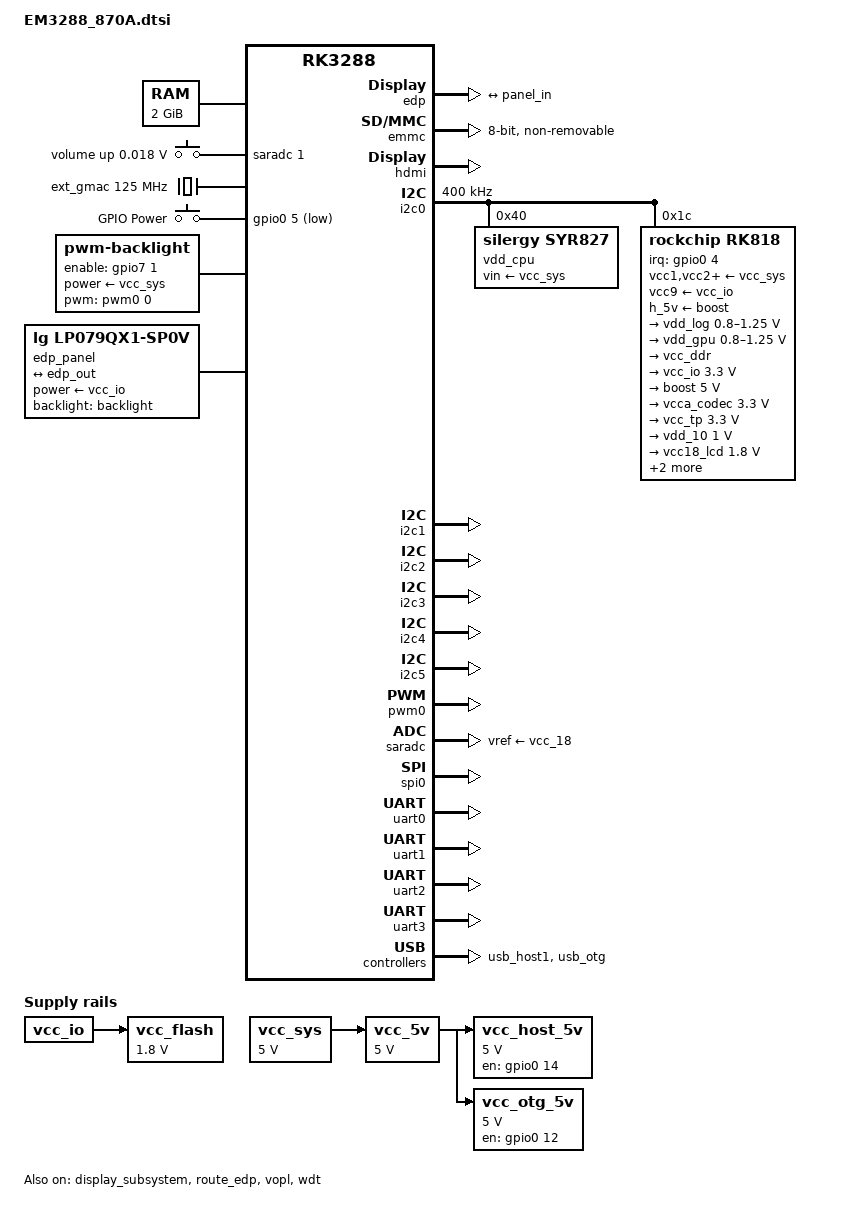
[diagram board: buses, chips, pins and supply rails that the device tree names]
/*
 * (C) Copyright 2018 Yeacreate Co., Ltd
 *
 * SPDX-License-Identifier:     GPL-2.0+ X11
 */

#include "rk3288.dtsi"
#include "rk3288-u-boot.dtsi"
#include <dt-bindings/input/input.h>

/ {
	memory {
		reg = <0 0x80000000>;
	};

	adc-keys {
		compatible = "adc-keys";
		io-channels = <&saradc 1>;
		status = "okay";
		keyup-threshold-microvolt = <1800000>;

		volup-key {
			linux,code = <KEY_VOLUMEUP>;
			label = "volume up";
			press-threshold-microvolt = <18000>;
		};
		
	};

	ext_gmac: external-gmac-clock {
		compatible = "fixed-clock";
		#clock-cells = <0>;
		clock-frequency = <125000000>;
		clock-output-names = "ext_gmac";
	};

	keys: gpio-keys {
		compatible = "gpio-keys";
		#address-cells = <1>;
		#size-cells = <0>;

		button@0 {
			gpio-key,wakeup = <1>;
			gpios = <&gpio0 5 GPIO_ACTIVE_LOW>;
			label = "GPIO Power";
			linux,code = <116>;
			pinctrl-names = "default";
			pinctrl-0 = <&pwr_key>;
		};
	};

	vcc_sys: vsys-regulator {
		compatible = "regulator-fixed";
		regulator-name = "vcc_sys";
		regulator-min-microvolt = <5000000>;
		regulator-max-microvolt = <5000000>;
		regulator-always-on;
		regulator-boot-on;
	};

	vcc_flash: flash-regulator {
		compatible = "regulator-fixed";
		regulator-name = "vcc_flash";
		regulator-min-microvolt = <1800000>;
		regulator-max-microvolt = <1800000>;
		vin-supply = <&vcc_io>;
	};

	vcc_5v: usb-regulator {
		compatible = "regulator-fixed";
		regulator-name = "vcc_5v";
		regulator-min-microvolt = <5000000>;
		regulator-max-microvolt = <5000000>;
		regulator-always-on;
		regulator-boot-on;
		vin-supply = <&vcc_sys>;
	};

	vcc_host_5v: usb-host-regulator {
		compatible = "regulator-fixed";
		enable-active-high;
		gpio = <&gpio0 14 GPIO_ACTIVE_HIGH>;
		pinctrl-names = "default";
		pinctrl-0 = <&host_vbus_drv>;
		regulator-name = "vcc_host_5v";
		regulator-min-microvolt = <5000000>;
		regulator-max-microvolt = <5000000>;
		regulator-always-on;
		vin-supply = <&vcc_5v>;
	};

	vcc_otg_5v: usb-otg-regulator {
		compatible = "regulator-fixed";
		enable-active-high;
		gpio = <&gpio0 12 GPIO_ACTIVE_HIGH>;
		pinctrl-names = "default";
		pinctrl-0 = <&otg_vbus_drv>;
		regulator-name = "vcc_otg_5v";
		regulator-min-microvolt = <5000000>;
		regulator-max-microvolt = <5000000>;
		regulator-always-on;
		vin-supply = <&vcc_5v>;
	};

	backlight: backlight {
		compatible = "pwm-backlight";
		power-supply = <&vcc_sys>;
		enable-gpios = <&gpio7 1 GPIO_ACTIVE_HIGH>;
		brightness-levels = <
			  0   1   2   3   4   5   6   7
			  8   9  10  11  12  13  14  15
			 16  17  18  19  20  21  22  23
			 24  25  26  27  28  29  30  31
			 32  33  34  35  36  37  38  39
			 40  41  42  43  44  45  46  47
			 48  49  50  51  52  53  54  55
			 56  57  58  59  60  61  62  63
			 64  65  66  67  68  69  70  71
			 72  73  74  75  76  77  78  79
			 80  81  82  83  84  85  86  87
			 88  89  90  91  92  93  94  95
			 96  97  98  99 100 101 102 103
			104 105 106 107 108 109 110 111
			112 113 114 115 116 117 118 119
			120 121 122 123 124 125 126 127
			128 129 130 131 132 133 134 135
			136 137 138 139 140 141 142 143
			144 145 146 147 148 149 150 151
			152 153 154 155 156 157 158 159
			160 161 162 163 164 165 166 167
			168 169 170 171 172 173 174 175
			176 177 178 179 180 181 182 183
			184 185 186 187 188 189 190 191
			192 193 194 195 196 197 198 199
			200 201 202 203 204 205 206 207
			208 209 210 211 212 213 214 215
			216 217 218 219 220 221 222 223
			224 225 226 227 228 229 230 231
			232 233 234 235 236 237 238 239
			240 241 242 243 244 245 246 247
			248 249 250 251 252 253 254 255>;
		default-brightness-level = <128>;
		pwms = <&pwm0 0 1000000 0>;
		pinctrl-names = "default";
		pinctrl-0 = <&bl_en>;
		//pwm-delay-us = <10000>;
		status = "okay";
	};

	edp_panel: edp-panel {
		compatible ="lg,lp079qx1-sp0v", "simple-panel";
		backlight = <&backlight>;
		power-supply = <&vcc_io>;
		prepare-delay-ms = <20>;
		enable-delay-ms = <20>;

		ports {
			panel_in: endpoint {
				remote-endpoint = <&edp_out>;
			};
		};
	};

};

&cpu0 {
	cpu0-supply = <&vdd_cpu>;
};

&display_subsystem {
	status = "okay";
};

&edp {
	status = "okay";

	ports {
		port@1 {
			reg = <1>;
			edp_out: endpoint {
				remote-endpoint = <&panel_in>;
			};
		};
	};
};

&emmc {
	broken-cd;
	bus-width = <8>;
	cap-mmc-highspeed;
	disable-wp;
	non-removable;
	num-slots = <1>;
	pinctrl-names = "default";
	pinctrl-0 = <&emmc_clk>, <&emmc_cmd>, <&emmc_pwr>, <&emmc_bus8>;
	//vqmmc-supply = <&vcc_flash>;
	max-frequency = <100000000>;
	mmc-hs200-1_8v;
	mmc-ddr-1_8v;
	status = "okay";
};

&gmac {
	phy-mode = "rgmii";
	clock_in_out = "input";
	snps,reset-gpio = <&gpio4 7 0>;
	snps,reset-active-low;
	snps,reset-delays-us = <0 10000 1000000>;
	assigned-clocks = <&cru SCLK_MAC>;
	assigned-clock-parents = <&ext_gmac>;
	pinctrl-names = "default";
	pinctrl-0 = <&rgmii_pins>;
	tx_delay = <0x30>;
	rx_delay = <0x10>;
	max-speed = <100>;
	status = "disabled";
};

&hdmi {
	ddc-i2c-bus = <&i2c5>;
	status = "okay";
};

&i2c0 {
	clock-frequency = <400000>;
	u-boot,dm-pre-reloc;
	status = "okay";
	
	
	vdd_cpu: syr827@40 {
		compatible = "silergy,syr827";
		fcs,suspend-voltage-selector = <1>;
		reg = <0x40>;
		regulator-name = "vdd_cpu";
		regulator-min-microvolt = <850000>;
		regulator-max-microvolt = <1350000>;
		regulator-always-on;
		regulator-boot-on;
		vin-supply = <&vcc_sys>;
	};
	

	rk818: pmic@1c {
		status = "okay";
		compatible = "rockchip,rk818";
		reg = <0x1c>;
		interrupt-parent = <&gpio0>;
		interrupts = <4 IRQ_TYPE_LEVEL_LOW>;
		pinctrl-names = "default";
		pinctrl-0 = <&pmic_int>;
		rockchip,system-power-controller;
		wakeup-source;
		#clock-cells = <1>;
		u-boot,dm-pre-reloc;

		vcc1-supply = <&vcc_sys>;
		vcc2-supply = <&vcc_sys>;
		vcc3-supply = <&vcc_sys>;
		vcc4-supply = <&vcc_sys>;
		vcc6-supply = <&vcc_sys>;
		vcc7-supply = <&vcc_sys>;
		vcc8-supply = <&vcc_sys>;
		vcc9-supply = <&vcc_io>;
		boost-supply = <&vcc_sys>;
		h_5v-supply = <&boost>;

		regulators {
			u-boot,dm-pre-reloc;
			vdd_log: DCDC_REG1 {
				regulator-name = "vdd_log";
				regulator-always-on;
				regulator-boot-on;
				regulator-min-microvolt = <800000>;
				regulator-max-microvolt = <1250000>;
				regulator-state-mem {
					regulator-off-in-suspend;
				};
			};

			vdd_gpu: DCDC_REG2 {
				regulator-name = "vdd_gpu";
				regulator-always-on;
				regulator-boot-on;
				regulator-min-microvolt = <800000>;
				regulator-max-microvolt = <1250000>;
				regulator-state-mem {
					regulator-on-in-suspend;
					regulator-suspend-microvolt = <1000000>;
				};
			};

			vcc_ddr: DCDC_REG3 {
				regulator-name = "vcc_ddr";
				regulator-always-on;
				regulator-boot-on;
				regulator-state-mem {
					regulator-on-in-suspend;
				};
			};

			vcc_io: DCDC_REG4 {
				regulator-always-on;
				regulator-boot-on;
				regulator-min-microvolt = <3300000>;
				regulator-max-microvolt = <3300000>;
				regulator-state-mem {
					regulator-on-in-suspend;
					regulator-suspend-microvolt = <3300000>;
				};
			};
			
			boost: DCDC_BOOST {
				regulator-always-on;
				regulator-boot-on;
				regulator-min-microvolt = <5000000>;
				regulator-max-microvolt = <5000000>;
				regulator-name = "boost";
				regulator-state-mem {
					regulator-on-in-suspend;
					regulator-suspend-microvolt = <5000000>;
				};
			};

			vcca_codec: LDO_REG1 {
				regulator-always-on;
				regulator-boot-on;
				regulator-min-microvolt = <3300000>;
				regulator-max-microvolt = <3300000>;
				regulator-name = "vcca_codec";
				regulator-state-mem {
					regulator-off-in-suspend;
				};
			};

			vcc_tp: LDO_REG2 {
				regulator-always-on;
				regulator-boot-on;
				regulator-min-microvolt = <3300000>;
				regulator-max-microvolt = <3300000>;
				regulator-name = "vcc_tp";
				regulator-state-mem {
					regulator-on-in-suspend;
					regulator-suspend-microvolt = <2500000>;
				};
			};

			vdd_10: LDO_REG3 {
				regulator-always-on;
				regulator-boot-on;
				regulator-min-microvolt = <1000000>;
				regulator-max-microvolt = <1000000>;
				regulator-name = "vdd_10";
				regulator-state-mem {
					regulator-on-in-suspend;
					regulator-suspend-microvolt = <1000000>;
				};
			};

			vcc18_lcd: LDO_REG4 {
				regulator-always-on;
				regulator-boot-on;
				regulator-min-microvolt = <1800000>;
				regulator-max-microvolt = <1800000>;
				regulator-name = "vcc18_lcd";
				regulator-state-mem {
					regulator-on-in-suspend;
					regulator-suspend-microvolt = <1800000>;
				};
			};
			
			vccio_pmu: LDO_REG5 {
				regulator-always-on;
				regulator-boot-on;
				regulator-min-microvolt = <3300000>;
				regulator-max-microvolt = <3300000>;
				regulator-name = "vccio_pmu";
				regulator-state-mem {
					regulator-on-in-suspend;
					regulator-suspend-microvolt = <3300000>;
				};
			};
			
			vdd10_lcd: LDO_REG6 {
				regulator-always-on;
				regulator-boot-on;
				regulator-min-microvolt = <1000000>;
				regulator-max-microvolt = <1000000>;
				regulator-name = "vdd10_lcd";
				regulator-state-mem {
					regulator-on-in-suspend;
					regulator-suspend-microvolt = <1000000>;
				};
			};

			vcc_18: LDO_REG7 {
				regulator-always-on;
				regulator-boot-on;
				regulator-min-microvolt = <1800000>;
				regulator-max-microvolt = <1800000>;
				regulator-name = "vcc_18";
				regulator-state-mem {
					regulator-off-in-suspend;
					regulator-suspend-microvolt = <1800000>;
				};
			};
			
			vccio_wl: LDO_REG8 {
				regulator-always-on;
				regulator-boot-on;
				regulator-min-microvolt = <1800000>;
				regulator-max-microvolt = <3300000>;
				regulator-name = "vccio_wl";
				regulator-state-mem {
					regulator-on-in-suspend;
					regulator-suspend-microvolt = <3300000>;
				};
			};

			vccio_sd: LDO_REG9 {
				regulator-always-on;
				regulator-boot-on;
				regulator-min-microvolt = <1800000>;
				regulator-max-microvolt = <3300000>;
				regulator-name = "vccio_sd";
				regulator-state-mem {
					regulator-on-in-suspend;
					regulator-suspend-microvolt = <3300000>;
				};
			};	

			vcc_sd: SWITCH_REG {
				regulator-always-on;
				regulator-boot-on;
				regulator-name = "vcc_sd";
				regulator-state-mem {
					regulator-on-in-suspend;
				};
			};

			h_5v: HDMI_SWITCH {
				regulator-always-on;
				regulator-boot-on;
				regulator-name = "h_5v";
				regulator-state-mem {
					regulator-on-in-suspend;
				};
			};
			
		};

		battery {
			compatible = "rk818-battery";
			//pinctrl-names = "default";
			//pinctrl-0 = <&dc_irq_gpio>;
			ocv_table = <
				2750 2950 3150 3350 3550 3750 3780
				3810 3840 3870 3900 3950 4000 4010
				4030 4050 4070 4090 4110 4230 4250>;
			design_capacity = <2800>;
			design_qmax = <2800>;
			bat_res = <85>;
			max_input_current = <2000>;
			max_chrg_current = <1000>;
			max_chrg_voltage = <4350>;
			sleep_enter_current = <300>;
			sleep_exit_current = <300>;
			sleep_filter_current = <100>;
			power_off_thresd = <2800>;
			zero_algorithm_vol = <3950>;
			fb_temperature = <105>;
			sample_res = <10>;
			max_soc_offset = <60>;
			energy_mode = <0>;
			monitor_sec = <5>;
			virtual_power = <0>;
			power_dc2otg = <1>;
			support_usb_adp = <1>;
			support_dc_adp = <1>;
			dc_det_gpio = <&gpio0 8 GPIO_ACTIVE_LOW>;
		};
	};
};

&i2c1 {
	status = "okay";
};

&i2c2 {
	status = "okay";
};

&i2c3 {
	status = "okay";
};

&i2c4 {
	status = "okay";
};

&i2c5 {
	status = "okay";
};

&pinctrl {
	pcfg_output_high: pcfg-output-high {
		output-high;
	};

	pcfg_output_low: pcfg-output-low {
		output-low;
	};

	keys {
		pwr_key: pwr-key {
			rockchip,pins = <0 5 RK_FUNC_GPIO &pcfg_pull_up>;
		};
	};
	
	pmic {
		pmic_int: pmic-int {
			rockchip,pins = <RK_GPIO0 4 RK_FUNC_GPIO &pcfg_pull_up>;
		};
		vsel1_gpio: vsel1-gpio {
			rockchip,pins = <RK_GPIO0 0 RK_FUNC_GPIO &pcfg_pull_down>;
		};
	};
	
	sdmmc {
		sdmmc_pwr: sdmmc-pwr {
			rockchip,pins = <7 11 RK_FUNC_GPIO &pcfg_pull_none>;
		};
	};

	usb_host {
		host_vbus_drv: host-vbus-drv {
			rockchip,pins = <0 14 RK_FUNC_GPIO &pcfg_pull_none>;
		};
	};

	usb_otg {
		otg_vbus_drv: otg-vbus-drv {
			rockchip,pins = <0 12 RK_FUNC_GPIO &pcfg_pull_none>;
		};
	};
	
	backlight {
		bl_en: bl-en {
			rockchip,pins = <7 2 RK_FUNC_GPIO &pcfg_pull_none>;
		};
	};
};

&pwm0 {
	status = "okay";
};

&route_edp {
	status = "okay";
};

&saradc {
	vref-supply = <&vcc_18>;
	status = "okay";
};

&sdio0 {
	broken-cd;
	bus-width = <4>;
	disable-wp;
	non-removable;
	num-slots = <1>;
	pinctrl-names = "default";
	pinctrl-0 = <&sdio0_bus4>, <&sdio0_cmd>, <&sdio0_clk>;
	vmmc-supply = <&vcc_18>;
	status = "disabled";
};

&sdmmc {
	bus-width = <4>;
	cap-mmc-highspeed;
	cap-sd-highspeed;
	card-detect-delay = <200>;
	disable-wp;
	num-slots = <1>;
	pinctrl-names = "default";
	pinctrl-0 = <&sdmmc_clk>, <&sdmmc_cmd>, <&sdmmc_cd>, <&sdmmc_bus4>;
	vmmc-supply = <&vccio_sd>;
	status = "disabled";
};

&spi0 {
	pinctrl-names = "default";
	pinctrl-0 = <&spi0_clk>, <&spi0_cs0>, <&spi0_tx>, <&spi0_rx>, <&spi0_cs1>;
	status = "okay";
};

&uart0 {
	pinctrl-names = "default";
	pinctrl-0 = <&uart0_xfer>, <&uart0_cts>, <&uart0_rts>;
	status = "okay";
};

&uart1 {
	status = "okay";
};

&uart2 {
	status = "okay";
};

&uart3 {
	status = "okay";
};

&usb_host1 {
	status = "okay";
};

&usb_otg {
	status = "okay";
};

&vopl {
	status = "okay";
};

&wdt {
	status = "okay";
};
